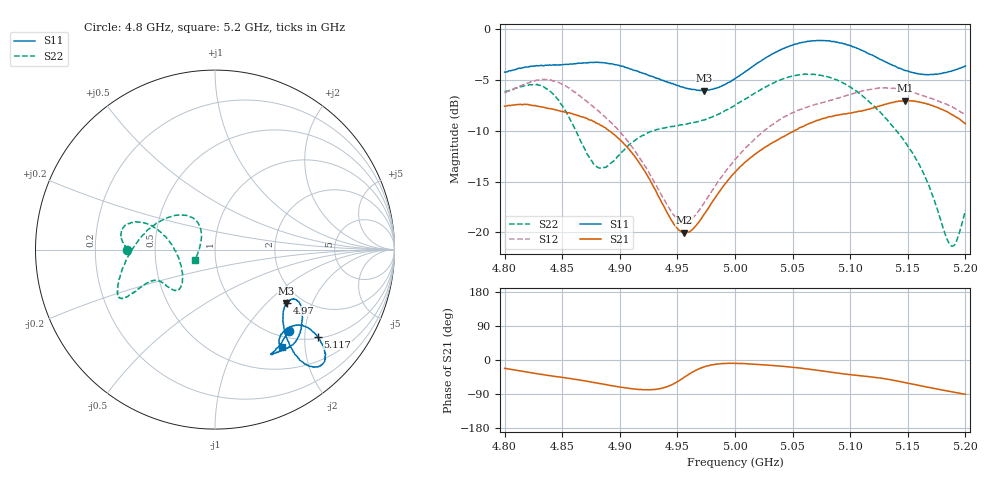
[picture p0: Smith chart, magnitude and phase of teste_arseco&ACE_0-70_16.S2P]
! Network Analyzer HP8722D
! Hewlett-Packard
! Data name: Linha & Wilkinson
! Saver's name: Rodrigo Anjos
! Comments: Teste da utilização de aquisição
! continua pelo VNA HP8722D
! Time and date: 8/5/2025 12:53
!  Frequency  S11  S21  S12  S22
# HZ  S  MA R 50
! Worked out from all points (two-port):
!   401 points, 4.8 GHz to 5.2 GHz, reference 50 ohm
!   highest |S21| = -7.06 dB at 5.148 GHz (marker M1); lowest = -20.0 dB at 4.956 GHz (marker M2)
!   |S21| within 3 dB of the highest: start of sweep to 4.891 GHz; 5.051 GHz to end of sweep
!   lowest |S11| = -6.1 dB at 4.973 GHz (marker M3), VSWR 2.97, Z = 82.8 - j66 ohm
!   |S11| at or under -10 dB: nowhere
!   |S22| runs from -21.3 to -4.4 dB; largest |S21 - S12| = 0.95
!   S11 on the Smith chart (normalised r, x): 4.8 GHz: 1.13, -1.64; 4.97 GHz: 1.69, -1.33; 5.117 GHz: 1.05, -2.32; 5.2 GHz: 0.83, -1.57
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4.8e9  0.6123 -47.9  0.4166 -22.0  0.4854 -175.8  0.4914 -180.0
4.836e9  0.6619 -61.5  0.4082 -39.8  0.5619 168.3  0.5085 164.1
4.851e9  0.6669 -59.9  0.392 -46.3  0.5309 158.8  0.4113 159.1
4.867e9  0.6774 -54.7  0.369 -53.8  0.4588 150.7  0.2738 167.1
4.878e9  0.6837 -51.1  0.35 -59.7  0.4088 147.0  0.2143 -174.8
4.886e9  0.681 -48.4  0.3291 -63.8  0.3744 144.2  0.2084 -158.2
4.912e9  0.6245 -39.2  0.2402 -76.4  0.2562 137.5  0.28 -132.6
4.934e9  0.5683 -33.0  0.1492 -76.2  0.1611 141.2  0.3215 -135.2
4.956e9  0.5136 -32.5  0.09965 -45.5  0.1121 172.9  0.339 -144.5
4.97e9  0.4987 -36.3  0.1154 -21.6  0.1311 -163.3  0.3519 -149.7
4.973e9  0.4968 -37.1  0.1225 -18.5  0.1392 -159.9  0.3565 -150.8
5e9  0.5688 -47.8  0.1975 -9.0  0.2278 -146.6  0.4213 -153.9
5.038e9  0.7801 -52.4  0.2867 -15.9  0.356 -147.6  0.5569 -151.7
5.067e9  0.8718 -48.3  0.347 -25.2  0.4207 -154.3  0.5969 -154.9
5.096e9  0.8399 -43.1  0.3822 -37.2  0.4689 -162.6  0.5336 -167.0
5.117e9  0.7495 -40.3  0.4034 -44.2  0.5033 -172.5  0.4348 174.6
5.134e9  0.6737 -40.1  0.4315 -51.5  0.5119 177.2  0.3465 153.4
5.148e9  0.6238 -42.4  0.4437 -59.9  0.4972 169.4  0.2752 135.8
5.165e9  0.5948 -47.8  0.4303 -70.6  0.4658 161.6  0.1872 122.8
5.187e9  0.6172 -54.8  0.3828 -83.4  0.4169 153.9  0.08667 159.3
5.192e9  0.63 -55.4  0.368 -85.9  0.4028 152.0  0.08995 -177.7
5.2e9  0.6564 -55.6  0.3413 -90.5  0.3773 149.6  0.1281 -151.9
